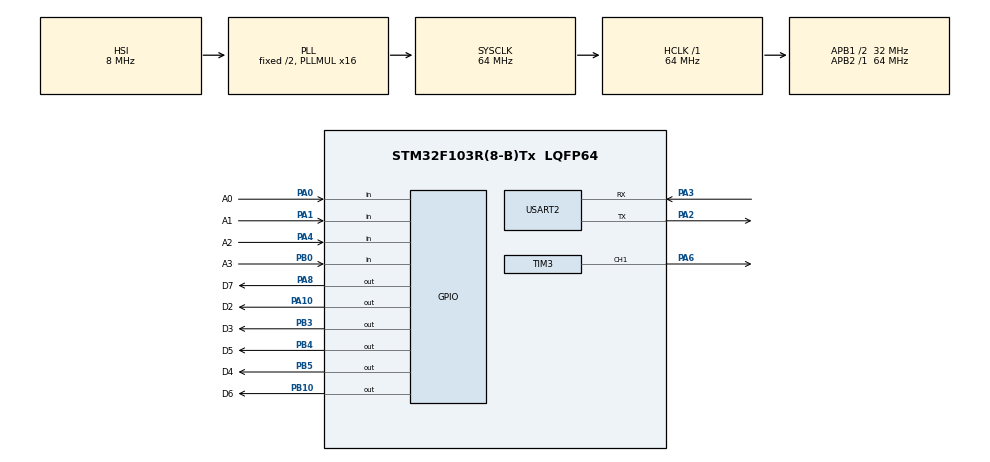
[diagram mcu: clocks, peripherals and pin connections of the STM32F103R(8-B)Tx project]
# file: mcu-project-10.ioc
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Mcu.Family=STM32F1
Mcu.Name=STM32F103R(8-B)Tx
Mcu.Package=LQFP64
NVIC.PriorityGroup=NVIC_PRIORITYGROUP_4
NVIC.TIM2_IRQn=true\:0\:0\:false\:false\:true\:true\:true\:true
PA0-WKUP.GPIO_Label=A0
PA0-WKUP.GPIO_PuPd=GPIO_PULLUP
PA0-WKUP.Signal=GPIO_Input
PA1.GPIO_Label=A1
PA1.GPIO_PuPd=GPIO_PULLUP
PA1.Signal=GPIO_Input
PA10.GPIO_Label=D2
PA10.Signal=GPIO_Output
PA13.Mode=Serial_Wire
PA13.Signal=SYS_JTMS-SWDIO
PA14.Mode=Serial_Wire
PA14.Signal=SYS_JTCK-SWCLK
PA2.Mode=Asynchronous
PA2.Signal=USART2_TX
PA3.Mode=Asynchronous
PA3.Signal=USART2_RX
PA4.GPIO_Label=A2
PA4.GPIO_PuPd=GPIO_PULLUP
PA4.Signal=GPIO_Input
PA6.Signal=S_TIM3_CH1
PA8.GPIO_Label=D7
PA8.Signal=GPIO_Output
PB0.GPIO_Label=A3
PB0.GPIO_PuPd=GPIO_PULLUP
PB0.Signal=GPIO_Input
PB10.GPIO_Label=D6
PB10.Signal=GPIO_Output
PB3.GPIO_Label=D3
PB3.Signal=GPIO_Output
PB4.GPIO_Label=D5
PB4.Signal=GPIO_Output
PB5.GPIO_Label=D4
PB5.Signal=GPIO_Output
ProjectManager.HeapSize=0x200
ProjectManager.StackSize=0x400
ProjectManager.TargetToolchain=STM32CubeIDE
RCC.AHBFreq_Value=64000000
RCC.APB1CLKDivider=RCC_HCLK_DIV2
RCC.APB1Freq_Value=32000000
RCC.APB1TimFreq_Value=64000000
RCC.APB2Freq_Value=64000000
RCC.APB2TimFreq_Value=64000000
RCC.HCLKFreq_Value=64000000
RCC.PLLMUL=RCC_PLL_MUL16
RCC.SYSCLKFreq_VALUE=64000000
RCC.SYSCLKSource=RCC_SYSCLKSOURCE_PLLCLK
RCC.USBFreq_Value=64000000
SH.S_TIM3_CH1.0=TIM3_CH1,PWM Generation1 CH1
TIM2.Period=9
TIM2.Prescaler=63999
TIM3.Channel-PWM\ Generation1\ CH1=TIM_CHANNEL_1
TIM3.Period=999
TIM3.Prescaler=63
USART2.VirtualMode=VM_ASYNC
VP_TIM2_VS_ClockSourceINT.Mode=Internal
VP_TIM3_VS_ClockSourceINT.Mode=Internal
board=custom

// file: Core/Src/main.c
/* USER CODE BEGIN Header */
/**
  ******************************************************************************
  * @file           : main.c
  * @brief          : Main program body
  ******************************************************************************
  * @attention
  *
  * Copyright (c) 2022 STMicroelectronics.
  * All rights reserved.
  *
  * This software is licensed under terms that can be found in the LICENSE file
  * in the root directory of this software component.
  * If no LICENSE file comes with this software, it is provided AS-IS.
  *
  ******************************************************************************
  */
/* USER CODE END Header */
#include "main.h"

/* USER CODE BEGIN Includes */
#include "global.h"
#include "button.h"
#include "software_timer.h"
#include "fsm_automatic.h"
#include "fsm_manual.h"
#include "fsm_timing.h"
#include <stdio.h>
/* USER CODE END Includes */

TIM_HandleTypeDef htim2;
TIM_HandleTypeDef htim3;

UART_HandleTypeDef huart2;

void SystemClock_Config(void);
static void MX_GPIO_Init(void);
static void MX_USART2_UART_Init(void);
static void MX_TIM3_Init(void);
static void MX_TIM2_Init(void);

/* USER CODE BEGIN 0 */
void test_IO(){
	HAL_GPIO_WritePin(D2_GPIO_Port, D2_Pin, HAL_GPIO_ReadPin(A1_GPIO_Port, A1_Pin));
	HAL_GPIO_WritePin(D3_GPIO_Port, D3_Pin, HAL_GPIO_ReadPin(A2_GPIO_Port, A2_Pin));

	HAL_GPIO_WritePin(D4_GPIO_Port, D4_Pin, HAL_GPIO_ReadPin(A0_GPIO_Port, A0_Pin));

	HAL_GPIO_WritePin(D5_GPIO_Port, D5_Pin, HAL_GPIO_ReadPin(A3_GPIO_Port, A3_Pin));
}

char str[20];
void display_traffic(int num){
	HAL_UART_Transmit(&huart2, (uint8_t *)str, sprintf(str, "!7SEG:%d, %d#\r\n",status, num), 500);
}
/* USER CODE END 0 */

int main(void)
{

  /* MCU Configuration--------------------------------------------------------*/

  /* Reset of all peripherals, Initializes the Flash interface and the Systick. */
  HAL_Init();

  /* Configure the system clock */
  SystemClock_Config();

  /* Initialize all configured peripherals */
  MX_GPIO_Init();
  MX_USART2_UART_Init();
  MX_TIM3_Init();
  MX_TIM2_Init();
  /* USER CODE BEGIN 2 */
  HAL_TIM_Base_Start_IT(&htim2);
  HAL_TIM_PWM_Start(&htim3, TIM_CHANNEL_1);
  /* USER CODE END 2 */

  /* Infinite loop */
  /* USER CODE BEGIN WHILE */
  status = AUTO_INIT;
  set_timer_display(DURATION_DISPLAY);
  set_timer_traffic(DURATION_INIT);

  timing_counter_green = DURATION_RED_GREEN;
  timing_counter_yellow = DURATION_RED_YELLOW;
  while (1)
  {
//	  test_IO();

	  fsm_automatic_run();
	  fsm_manual_run();
	  fsm_timing_run();

	  if(timer_display_flag == 1){
		  display_traffic(counter_on_7seg);
		  set_timer_display(DURATION_DISPLAY);
	  }
    /* USER CODE END WHILE */

  }
}

void SystemClock_Config(void)
{
  RCC_OscInitTypeDef RCC_OscInitStruct = {0};
  RCC_ClkInitTypeDef RCC_ClkInitStruct = {0};

  /** Initializes the RCC Oscillators according to the specified parameters
  * in the RCC_OscInitTypeDef structure.
  */
  RCC_OscInitStruct.OscillatorType = RCC_OSCILLATORTYPE_HSI;
  RCC_OscInitStruct.HSIState = RCC_HSI_ON;
  RCC_OscInitStruct.HSICalibrationValue = RCC_HSICALIBRATION_DEFAULT;
  RCC_OscInitStruct.PLL.PLLState = RCC_PLL_ON;
  RCC_OscInitStruct.PLL.PLLSource = RCC_PLLSOURCE_HSI_DIV2;
  RCC_OscInitStruct.PLL.PLLMUL = RCC_PLL_MUL16;
  if (HAL_RCC_OscConfig(&RCC_OscInitStruct) != HAL_OK)
  {
    Error_Handler();
  }

  /** Initializes the CPU, AHB and APB buses clocks
  */
  RCC_ClkInitStruct.ClockType = RCC_CLOCKTYPE_HCLK|RCC_CLOCKTYPE_SYSCLK
                              |RCC_CLOCKTYPE_PCLK1|RCC_CLOCKTYPE_PCLK2;
  RCC_ClkInitStruct.SYSCLKSource = RCC_SYSCLKSOURCE_PLLCLK;
  RCC_ClkInitStruct.AHBCLKDivider = RCC_SYSCLK_DIV1;
  RCC_ClkInitStruct.APB1CLKDivider = RCC_HCLK_DIV2;
  RCC_ClkInitStruct.APB2CLKDivider = RCC_HCLK_DIV1;

  if (HAL_RCC_ClockConfig(&RCC_ClkInitStruct, FLASH_LATENCY_2) != HAL_OK)
  {
    Error_Handler();
  }
}

static void MX_TIM2_Init(void)
{

  TIM_ClockConfigTypeDef sClockSourceConfig = {0};
  TIM_MasterConfigTypeDef sMasterConfig = {0};

  htim2.Instance = TIM2;
  htim2.Init.Prescaler = 63999;
  htim2.Init.CounterMode = TIM_COUNTERMODE_UP;
  htim2.Init.Period = 9;
  htim2.Init.ClockDivision = TIM_CLOCKDIVISION_DIV1;
  htim2.Init.AutoReloadPreload = TIM_AUTORELOAD_PRELOAD_DISABLE;
  if (HAL_TIM_Base_Init(&htim2) != HAL_OK)
  {
    Error_Handler();
  }
  sClockSourceConfig.ClockSource = TIM_CLOCKSOURCE_INTERNAL;
  if (HAL_TIM_ConfigClockSource(&htim2, &sClockSourceConfig) != HAL_OK)
  {
    Error_Handler();
  }
  sMasterConfig.MasterOutputTrigger = TIM_TRGO_RESET;
  sMasterConfig.MasterSlaveMode = TIM_MASTERSLAVEMODE_DISABLE;
  if (HAL_TIMEx_MasterConfigSynchronization(&htim2, &sMasterConfig) != HAL_OK)
  {
    Error_Handler();
  }

}

static void MX_TIM3_Init(void)
{

  TIM_ClockConfigTypeDef sClockSourceConfig = {0};
  TIM_MasterConfigTypeDef sMasterConfig = {0};
  TIM_OC_InitTypeDef sConfigOC = {0};

  htim3.Instance = TIM3;
  htim3.Init.Prescaler = 63;
  htim3.Init.CounterMode = TIM_COUNTERMODE_UP;
  htim3.Init.Period = 999;
  htim3.Init.ClockDivision = TIM_CLOCKDIVISION_DIV1;
  htim3.Init.AutoReloadPreload = TIM_AUTORELOAD_PRELOAD_DISABLE;
  if (HAL_TIM_Base_Init(&htim3) != HAL_OK)
  {
    Error_Handler();
  }
  sClockSourceConfig.ClockSource = TIM_CLOCKSOURCE_INTERNAL;
  if (HAL_TIM_ConfigClockSource(&htim3, &sClockSourceConfig) != HAL_OK)
  {
    Error_Handler();
  }
  if (HAL_TIM_PWM_Init(&htim3) != HAL_OK)
  {
    Error_Handler();
  }
  sMasterConfig.MasterOutputTrigger = TIM_TRGO_RESET;
  sMasterConfig.MasterSlaveMode = TIM_MASTERSLAVEMODE_DISABLE;
  if (HAL_TIMEx_MasterConfigSynchronization(&htim3, &sMasterConfig) != HAL_OK)
  {
    Error_Handler();
  }
  sConfigOC.OCMode = TIM_OCMODE_PWM1;
  sConfigOC.Pulse = 0;
  sConfigOC.OCPolarity = TIM_OCPOLARITY_HIGH;
  sConfigOC.OCFastMode = TIM_OCFAST_DISABLE;
  if (HAL_TIM_PWM_ConfigChannel(&htim3, &sConfigOC, TIM_CHANNEL_1) != HAL_OK)
  {
    Error_Handler();
  }
  HAL_TIM_MspPostInit(&htim3);

}

static void MX_USART2_UART_Init(void)
{

  huart2.Instance = USART2;
  huart2.Init.BaudRate = 115200;
  huart2.Init.WordLength = UART_WORDLENGTH_8B;
  huart2.Init.StopBits = UART_STOPBITS_1;
  huart2.Init.Parity = UART_PARITY_NONE;
  huart2.Init.Mode = UART_MODE_TX_RX;
  huart2.Init.HwFlowCtl = UART_HWCONTROL_NONE;
  huart2.Init.OverSampling = UART_OVERSAMPLING_16;
  if (HAL_UART_Init(&huart2) != HAL_OK)
  {
    Error_Handler();
  }

}

static void MX_GPIO_Init(void)
{
  GPIO_InitTypeDef GPIO_InitStruct = {0};

  /* GPIO Ports Clock Enable */
  __HAL_RCC_GPIOA_CLK_ENABLE();
  __HAL_RCC_GPIOB_CLK_ENABLE();

  /*Configure GPIO pin Output Level */
  HAL_GPIO_WritePin(GPIOB, D6_Pin|D3_Pin|D5_Pin|D4_Pin, GPIO_PIN_RESET);

  /*Configure GPIO pin Output Level */
  HAL_GPIO_WritePin(GPIOA, D7_Pin|D2_Pin, GPIO_PIN_RESET);

  /*Configure GPIO pins : A0_Pin A1_Pin A2_Pin */
  GPIO_InitStruct.Pin = A0_Pin|A1_Pin|A2_Pin;
  GPIO_InitStruct.Mode = GPIO_MODE_INPUT;
  GPIO_InitStruct.Pull = GPIO_PULLUP;
  HAL_GPIO_Init(GPIOA, &GPIO_InitStruct);

  /*Configure GPIO pin : A3_Pin */
  GPIO_InitStruct.Pin = A3_Pin;
  GPIO_InitStruct.Mode = GPIO_MODE_INPUT;
  GPIO_InitStruct.Pull = GPIO_PULLUP;
  HAL_GPIO_Init(A3_GPIO_Port, &GPIO_InitStruct);

  /*Configure GPIO pins : D6_Pin D3_Pin D5_Pin D4_Pin */
  GPIO_InitStruct.Pin = D6_Pin|D3_Pin|D5_Pin|D4_Pin;
  GPIO_InitStruct.Mode = GPIO_MODE_OUTPUT_PP;
  GPIO_InitStruct.Pull = GPIO_NOPULL;
  GPIO_InitStruct.Speed = GPIO_SPEED_FREQ_LOW;
  HAL_GPIO_Init(GPIOB, &GPIO_InitStruct);

  /*Configure GPIO pins : D7_Pin D2_Pin */
  GPIO_InitStruct.Pin = D7_Pin|D2_Pin;
  GPIO_InitStruct.Mode = GPIO_MODE_OUTPUT_PP;
  GPIO_InitStruct.Pull = GPIO_NOPULL;
  GPIO_InitStruct.Speed = GPIO_SPEED_FREQ_LOW;
  HAL_GPIO_Init(GPIOA, &GPIO_InitStruct);

}

void Error_Handler(void)
{
  __disable_irq();
  while (1)
  {
  }
}
